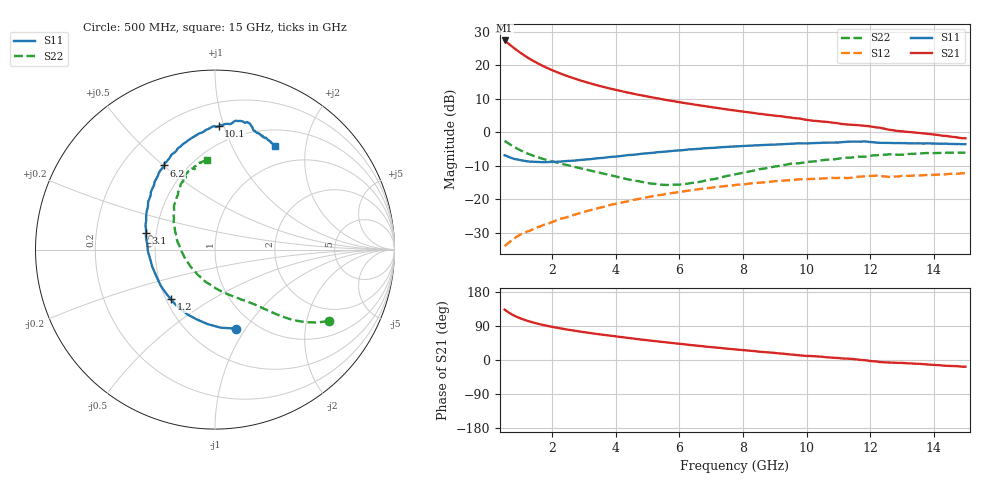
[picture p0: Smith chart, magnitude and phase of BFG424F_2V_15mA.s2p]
! Filename BFG424F_2V_15mA.prm
! Simulation_Values
! Created	by	janssen	on	nov	2006
!	Column ranking S11, S21,S12,S22 both magnitude and phase.
!	VCE	=	2	V,	IC	=	15	mA
!	Common	Emitter	S-Parameters
#	GHZ	S	MA	R	50
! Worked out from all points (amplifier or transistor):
!   146 points, 500 MHz to 15 GHz, reference 50 ohm
!   highest |S21| = 27.4 dB at 500 MHz (marker M1)
!   |S21| within 3 dB of that: start of sweep to 896.7 MHz
!   unconditionally stable (mu >= 1): 1.856 GHz to end of sweep
!   at 2.9 GHz: K = 1.14, MAG = 17.5 dB, |S12| = -24.0 dB
!   at 7.8 GHz: K = 1.16, MAG = 8.6 dB, |S12| = -15.7 dB
!   at 15 GHz: K = 1.45, MAG = 1.3 dB, |S12| = -12.3 dB
!   lowest NFmin = 1.65 dB at 900 MHz
!   S11 on the Smith chart (normalised r, x): 500 MHz: 0.82, -0.91; 1.2 GHz: 0.53, -0.34; 3.1 GHz: 0.44, +0.09; 6.2 GHz: 0.37, +0.50; 10.1 GHz: 0.37, +0.96; 15 GHz: 0.72, +1.49
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0.5  0.456 -74.9  23.56 133.1  0.02 64.9  0.748 -32.2
0.6  0.436 -85.9  21.52 127.0  0.022 62.1  0.695 -35.8
0.7  0.417 -95.8  19.7 121.7  0.024 61.2  0.648 -38.6
0.8  0.402 -104.6  18.06 117.2  0.026 60.1  0.607 -40.8
0.9  0.393 -112.6  16.64 113.3  0.028 59.6  0.571 -42.8
1  0.383 -119.5  15.39 109.7  0.03 59.5  0.539 -44.3
1.2  0.37 -131.7  13.29 103.8  0.033 59.8  0.488 -46.9
1.3  0.366 -137.1  12.44 101.2  0.034 60.0  0.467 -48.0
1.5  0.363 -146.6  11 96.6  0.038 60.7  0.432 -50.1
1.9  0.361 -162.2  8.878 89.0  0.044 62.5  0.378 -54.0
2.4  0.372 -177.1  7.125 81.3  0.053 63.7  0.33 -59.6
3  0.392 168.9  5.735 73.5  0.065 64.5  0.283 -67.9
3.1  0.395 166.6  5.558 72.2  0.067 64.2  0.276 -69.6
3.6  0.416 157.1  4.78 66.5  0.077 64.1  0.244 -78.7
4.2  0.446 146.9  4.095 60.0  0.09 62.9  0.209 -92.3
5.4  0.509 130.7  3.168 48.2  0.116 58.9  0.166 -130.0
6.2  0.548 121.1  2.721 40.8  0.133 55.7  0.17 -159.5
7.8  0.618 105.9  2.106 27.8  0.165 48.7  0.238 157.3
10.1  0.688 88.4  1.517 10.6  0.201 37.0  0.365 125.1
10.2  0.69 87.8  1.49 10.2  0.202 36.6  0.368 124.3
12.6  0.696 71.3  1.094 -6.7  0.216 26.1  0.47 106.0
15  0.666 59.8  0.816 -17.6  0.244 18.4  0.5 95.1
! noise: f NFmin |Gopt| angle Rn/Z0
0.9  1.65  0.11  -162.4  0.18
2  1.9  0.13  -162.1  0.2
